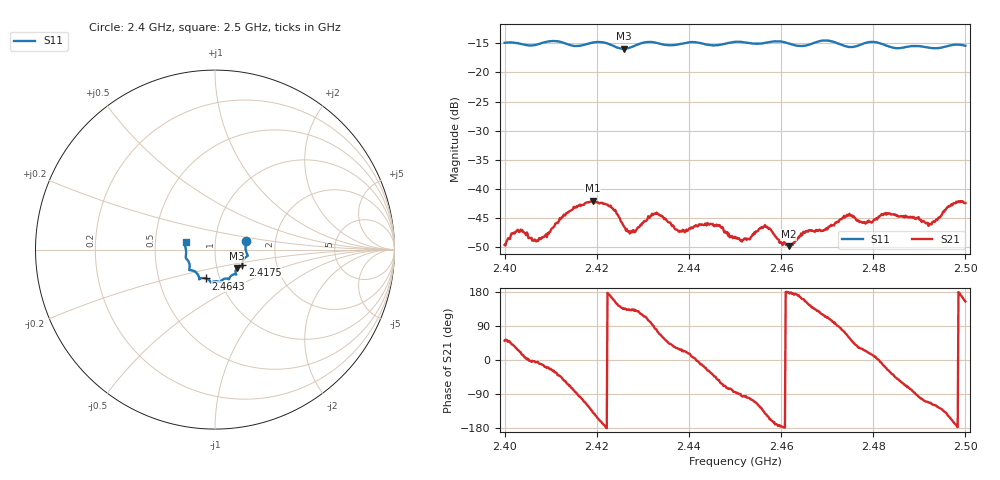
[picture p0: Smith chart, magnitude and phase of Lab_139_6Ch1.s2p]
# Hz S RI R 50
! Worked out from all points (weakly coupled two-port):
!   601 points, 2.4 GHz to 2.5 GHz, reference 50 ohm
!   highest |S21| = -42.02 dB at 2.4192 GHz (marker M1); lowest = -49.8 dB at 2.4617 GHz (marker M2)
!   lowest |S11| = -15.9 dB at 2.4258 GHz (marker M3), VSWR 1.38, Z = 62.3 - j13.2 ohm
!   |S11| at or under -10 dB: start of sweep to end of sweep
!   S12 and S22 are empty: the file has one direction only
!   S11 on the Smith chart (normalised r, x): 2.4 GHz: 1.41, +0.14; 2.4175 GHz: 1.34, -0.23; 2.4643 GHz: 0.86, -0.29; 2.5 GHz: 0.72, +0.06
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2.4e9  0.173 0.0487  0.00209 0.00256  0 0  0 0
2.403167e9  0.1743 0.0328  0.00389 0.00172  0 0  0 0
2.407333e9  0.1742 -0.014  0.00356 -0.000448  0 0  0 0
2.416667e9  0.1533 -0.074  -0.00144 -0.00715  0 0  0 0
2.4175e9  0.1523 -0.0835  -0.00289 -0.00698  0 0  0 0
2.419167e9  0.1532 -0.0958  -0.00594 -0.00524  0 0  0 0
2.4235e9  0.1411 -0.0942  -0.00641 0.00218  0 0  0 0
2.425833e9  0.1216 -0.1032  -0.00345 0.00335  0 0  0 0
2.427833e9  0.1143 -0.1215  -0.00303 0.0032  0 0  0 0
2.433333e9  0.1134 -0.1371  0.0018 0.00585  0 0  0 0
2.438e9  0.0826 -0.1543  0.00388 0.00199  0 0  0 0
2.4445e9  0.0596 -0.1612  0.00421 -0.00256  0 0  0 0
2.45e9  0.0289 -0.1809  0.000366 -0.00386  0 0  0 0
2.456667e9  -0.0113 -0.1795  -0.00376 -0.00287  0 0  0 0
2.461667e9  -0.0288 -0.1749  -0.00322 6.97e-05  0 0  0 0
2.464333e9  -0.0499 -0.161  -0.00397 0.00118  0 0  0 0
2.466667e9  -0.076 -0.1593  -0.00329 0.00293  0 0  0 0
2.474667e9  -0.1028 -0.1296  0.00296 0.00515  0 0  0 0
2.478e9  -0.1351 -0.1154  0.00468 0.00229  0 0  0 0
2.483333e9  -0.1412 -0.0901  0.0054 -0.00287  0 0  0 0
2.492167e9  -0.1614 -0.0237  -0.00194 -0.00462  0 0  0 0
2.5e9  -0.1641 0.0428  -0.00682 0.00328  0 0  0 0
